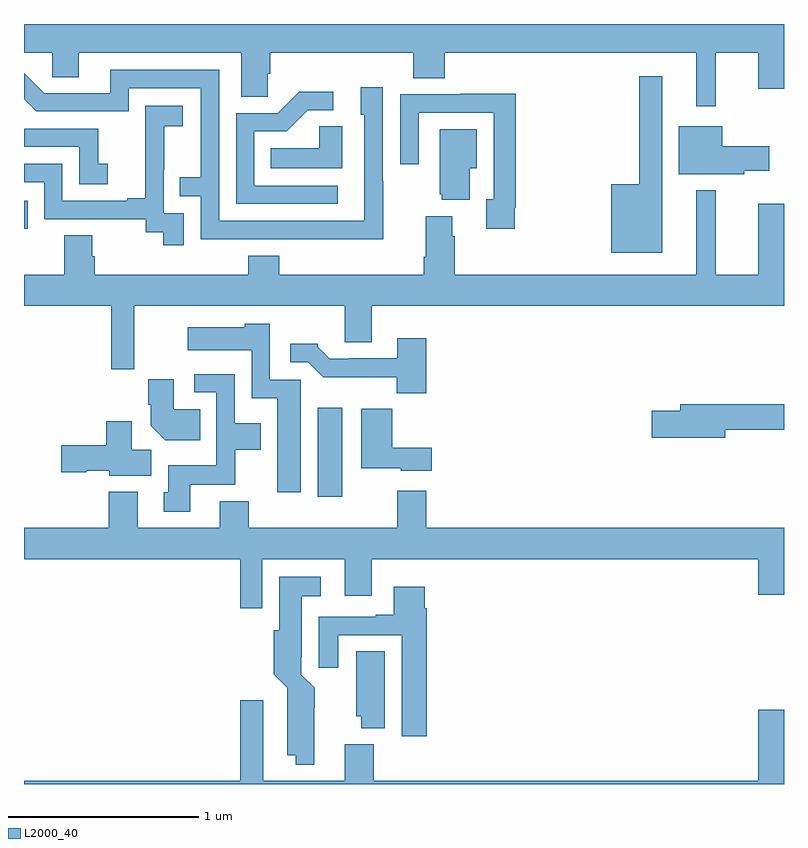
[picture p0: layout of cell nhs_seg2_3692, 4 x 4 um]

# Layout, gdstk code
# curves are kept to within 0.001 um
import gdstk
lib = gdstk.Library(unit=1e-6, precision=1e-09)
def R(c, l, rs):  # rectangles x0, y0, x1, y1
    for r in rs: c.add(gdstk.rectangle(r[:2], r[2:], *l))
def P(c, l, *ps):  # polygons
    for p in ps: c.add(gdstk.Polygon(p, *l))
L2000_40 = (2000, 40)

nhs_seg2_3692 = lib.new_cell('nhs_seg2_3692')
R(nhs_seg2_3692, L2000_40, [(306.545,633.312,306.676,633.781), (305,634.722,305.021,634.869)])
P(nhs_seg2_3692, L2000_40, [(308.641,635.648),(308.864,635.648),(308.864,635.46),(309,635.46),(309,635.8),(305,635.8),(305,635.648),(305.148,635.648),(305.148,635.521),(305.287,635.521),(305.287,635.648),(306.143,635.648),(306.143,635.416),(306.282,635.416),(306.282,635.539),(306.296,635.539),(306.296,635.648),(307.049,635.648),(307.049,635.515),(307.214,635.515),(307.214,635.648),(308.537,635.648),(308.537,635.367),(308.641,635.367)],
  [(306.891,634.973),(306.888,634.973),(306.888,635.467),(306.773,635.467),(306.773,635.322),(306.792,635.322),(306.792,634.764),(306.027,634.764),(306.027,635.559),(305.453,635.559),(305.453,635.436),(305.106,635.436),(305,635.542),(305,635.404),(305.064,635.34),(305.55,635.34),(305.55,635.463),(305.931,635.463),(305.931,634.994),(305.821,634.994),(305.821,634.893),(305.931,634.893),(305.931,634.668),(306.891,634.667)],
  [(308.359,635.524),(308.238,635.524),(308.238,634.957),(308.09,634.957),(308.09,634.595),(308.359,634.595)],
  [(306.652,634.95),(306.213,634.95),(306.213,635.235),(306.382,635.235),(306.493,635.346),(306.628,635.346),(306.628,635.444),(306.449,635.444),(306.336,635.331),(306.117,635.331),(306.117,634.854),(306.652,634.854)],
  [(307.582,634.834),(307.589,634.834),(307.589,635.432),(307.297,635.432),(307.297,635.43),(306.981,635.43),(306.981,635.061),(307.077,635.061),(307.077,635.334),(307.473,635.334),(307.473,634.878),(307.433,634.878),(307.433,634.722),(307.582,634.722)],
  [(305.841,634.803),(305.736,634.803),(305.736,635.033),(305.738,635.033),(305.738,635.261),(305.836,635.261),(305.836,635.371),(305.638,635.371),(305.638,635.165),(305.639,635.165),(305.639,634.882),(305.543,634.882),(305.543,634.869),(305.202,634.869),(305.202,635.064),(305,635.064),(305,634.968),(305.106,634.968),(305.106,634.773),(305.64,634.773),(305.64,634.705),(305.733,634.705),(305.733,634.635),(305.841,634.635)],
  [(308.79,635.027),(308.923,635.027),(308.923,635.157),(308.674,635.157),(308.674,635.263),(308.447,635.263),(308.447,635.009),(308.79,635.009)],
  [(306.676,635.261),(306.555,635.261),(306.555,635.146),(306.298,635.146),(306.298,635.042),(306.676,635.042)],
  [(305.44,635.065),(305.391,635.065),(305.391,635.25),(305,635.25),(305,635.154),(305.292,635.154),(305.292,634.956),(305.44,634.956)],
  [(307.345,635.042),(307.384,635.042),(307.384,635.245),(307.187,635.245),(307.187,634.905),(307.199,634.905),(307.199,634.874),(307.345,634.874)],
  [(305.579,634.316),(306.689,634.316),(306.689,634.126),(306.829,634.126),(306.829,634.316),(309,634.316),(309,634.855),(308.864,634.855),(308.864,634.48),(308.641,634.48),(308.641,634.924),(308.537,634.924),(308.537,634.48),(307.268,634.48),(307.268,634.682),(307.255,634.682),(307.255,634.789),(307.115,634.789),(307.115,634.576),(307.103,634.576),(307.103,634.48),(306.344,634.48),(306.344,634.579),(306.179,634.579),(306.179,634.48),(305.372,634.48),(305.372,634.578),(305.359,634.578),(305.359,634.688),(305.212,634.688),(305.212,634.48),(305,634.48),(305,634.316),(305.458,634.316),(305.458,633.984),(305.579,633.984)],
  [(306.457,633.927),(306.294,633.927),(306.294,634.222),(306.162,634.222),(306.162,634.204),(305.862,634.204),(305.862,634.082),(306.198,634.082),(306.198,633.83),(306.332,633.83),(306.332,633.336),(306.457,633.336)],
  [(307.118,634.147),(306.965,634.147),(306.965,634.041),(306.709,634.041),(306.709,634.038),(306.61,634.038),(306.546,634.102),(306.546,634.117),(306.402,634.117),(306.402,634.02),(306.495,634.02),(306.574,633.942),(306.963,633.942),(306.963,633.857),(307.118,633.857)],
  [(305.875,633.374),(306.111,633.374),(306.111,633.56),(306.247,633.56),(306.247,633.7),(306.108,633.7),(306.108,633.957),(305.895,633.957),(305.895,633.861),(306.012,633.861),(306.012,633.478),(305.759,633.478),(305.759,633.336),(305.735,633.336),(305.735,633.234),(305.875,633.234)],
  [(305.927,633.772),(305.788,633.772),(305.788,633.931),(305.654,633.931),(305.654,633.796),(305.666,633.796),(305.666,633.686),(305.744,633.608),(305.927,633.608)],
  [(308.692,633.664),(309,633.664),(309,633.8),(308.453,633.8),(308.453,633.764),(308.304,633.764),(308.304,633.622),(308.692,633.622)],
  [(307.147,633.571),(306.938,633.571),(306.938,633.775),(306.776,633.775),(306.776,633.461),(306.984,633.461),(306.984,633.449),(307.147,633.449)],
  [(305.671,633.56),(305.566,633.56),(305.566,633.709),(305.432,633.709),(305.432,633.584),(305.196,633.584),(305.196,633.442),(305.328,633.442),(305.328,633.449),(305.448,633.449),(305.448,633.422),(305.671,633.422)],
  [(308.864,632.796),(309,632.796),(309,633.148),(307.118,633.148),(307.118,633.343),(306.965,633.343),(306.965,633.148),(306.182,633.148),(306.182,633.289),(306.029,633.289),(306.029,633.148),(305.599,633.148),(305.599,633.337),(305.447,633.337),(305.447,633.148),(305,633.148),(305,632.984),(306.139,632.984),(306.139,632.724),(306.255,632.724),(306.255,632.984),(306.689,632.984),(306.689,632.79),(306.829,632.79),(306.829,632.984),(308.864,632.984)],
  [(306.528,632.204),(306.529,632.306),(306.459,632.376),(306.459,632.47),(306.463,632.47),(306.463,632.789),(306.562,632.789),(306.562,632.89),(306.344,632.89),(306.344,632.61),(306.314,632.61),(306.314,632.378),(306.386,632.306),(306.386,631.952),(306.431,631.952),(306.431,631.901),(306.528,631.901)],
  [(307.121,632.726),(307.108,632.726),(307.108,632.839),(306.947,632.839),(306.947,632.692),(306.851,632.692),(306.851,632.679),(306.551,632.679),(306.551,632.412),(306.655,632.412),(306.655,632.583),(306.989,632.583),(306.989,632.052),(307.121,632.052)],
  [(306.898,632.498),(306.749,632.498),(306.749,632.157),(306.776,632.157),(306.776,632.093),(306.898,632.093)],
  [(309,632.191),(308.864,632.191),(308.864,631.816),(306.842,631.816),(306.842,632.008),(306.689,632.008),(306.689,631.816),(306.259,631.816),(306.259,632.242),(306.137,632.242),(306.137,631.816),(305,631.816),(305,631.8),(309,631.8)])

lib.write_gds('nhs_seg2_3692.gds')
